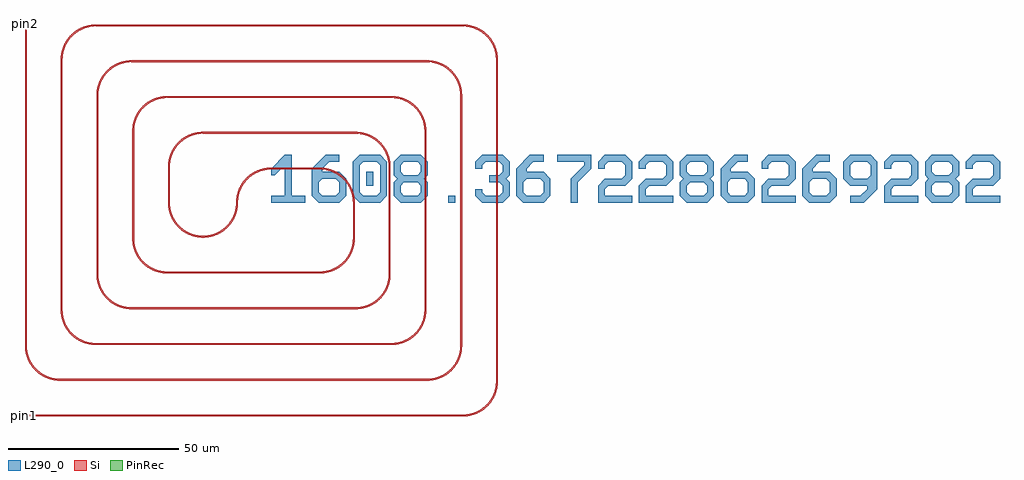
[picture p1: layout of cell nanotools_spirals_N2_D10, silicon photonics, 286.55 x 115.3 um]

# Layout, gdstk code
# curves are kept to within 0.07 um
import gdstk
lib = gdstk.Library(unit=1e-6, precision=1e-09)
def R(c, l, rs):  # rectangles x0, y0, x1, y1
    for r in rs: c.add(gdstk.rectangle(r[:2], r[2:], *l))
def P(c, l, *ps):  # polygons
    for p in ps: c.add(gdstk.Polygon(p, *l))
Si = (1, 0)
PinRec = (1, 10)
L290_0 = (290, 0)

nanotools_spirals_n2_d10 = lib.new_cell('nanotools_spirals_N2_D10')
R(nanotools_spirals_n2_d10, Si, [(-72.5,-62.75,56.3,-62.25), (66.05,-52.5,66.55,42), (-62,-52.25,45.8,-51.75), (-72.25,-42,-71.75,52.5), (55.55,-42,56.05,31.5), (-51.5,-41.75,35.3,-41.25), (-61.75,-31.5,-61.25,42), (45.05,-31.5,45.55,21), (-41,-31.25,24.8,-30.75), (-51.25,-21,-50.75,31.5), (34.55,-21,35.05,10.5), (-30.5,-20.75,14.3,-20.25), (-40.75,-10.5,-40.25,21), (24.05,-10.5,24.55,0), (-30.25,0,-29.75,10.5), (0,9.75,14.3,10.25), (-20,20.25,24.8,20.75), (-30.5,30.75,35.3,31.25), (-41,41.25,45.8,41.75), (-51.5,51.75,56.3,52.25)])
P(nanotools_spirals_n2_d10, Si, [(-10.25,0),(-10.056,1.984),(-9.482,3.894),(-8.548,5.656),(-7.292,7.204),(-6.557,7.879),(-5.759,8.479),(-4.009,9.434),(-3.072,9.779),(-2.107,10.031),(-1.121,10.189),(0,10.25),(0,9.75),(-1.066,9.692),(-2.12,9.517),(-3.148,9.228),(-4.246,8.777),(-5.673,7.93),(-6.852,6.936),(-7.93,5.673),(-8.777,4.246),(-9.228,3.148),(-9.517,2.12),(-9.692,1.066),(-9.75,0)],
  [(-20,-10.25),(-20,-9.75),(-18.934,-9.692),(-17.88,-9.517),(-16.852,-9.228),(-15.754,-8.777),(-14.327,-7.93),(-13.148,-6.936),(-12.07,-5.673),(-11.223,-4.246),(-10.772,-3.148),(-10.483,-2.12),(-10.308,-1.066),(-10.25,0),(-9.75,0),(-9.944,-1.984),(-10.518,-3.894),(-11.452,-5.656),(-12.708,-7.204),(-13.443,-7.879),(-14.241,-8.479),(-15.991,-9.434),(-16.928,-9.779),(-17.893,-10.031),(-18.879,-10.189)],
  [(14.3,-20.75),(14.3,-20.25),(15.366,-20.192),(16.42,-20.017),(17.448,-19.728),(18.546,-19.277),(19.973,-18.43),(21.152,-17.436),(22.23,-16.173),(23.077,-14.746),(23.528,-13.648),(23.817,-12.62),(23.992,-11.566),(24.05,-10.5),(24.55,-10.5),(24.356,-12.484),(23.782,-14.394),(22.848,-16.156),(21.592,-17.704),(20.857,-18.379),(20.059,-18.979),(18.309,-19.934),(17.372,-20.279),(16.407,-20.531),(15.421,-20.689)],
  [(24.8,-31.25),(24.8,-30.75),(25.866,-30.692),(26.92,-30.517),(27.948,-30.228),(29.046,-29.777),(30.473,-28.93),(31.652,-27.936),(32.73,-26.673),(33.577,-25.246),(34.028,-24.148),(34.317,-23.12),(34.492,-22.066),(34.55,-21),(35.05,-21),(34.856,-22.984),(34.282,-24.894),(33.348,-26.656),(32.092,-28.204),(31.357,-28.879),(30.559,-29.479),(28.809,-30.434),(27.872,-30.779),(26.907,-31.031),(25.921,-31.189)],
  [(35.3,-41.75),(35.3,-41.25),(36.366,-41.192),(37.42,-41.017),(38.448,-40.728),(39.546,-40.277),(40.973,-39.43),(42.152,-38.436),(43.23,-37.173),(44.077,-35.746),(44.528,-34.648),(44.817,-33.62),(44.992,-32.566),(45.05,-31.5),(45.55,-31.5),(45.356,-33.484),(44.782,-35.394),(43.848,-37.156),(42.592,-38.704),(41.857,-39.379),(41.059,-39.979),(39.309,-40.934),(38.372,-41.279),(37.407,-41.531),(36.421,-41.689)],
  [(45.8,-52.25),(45.8,-51.75),(46.866,-51.692),(47.92,-51.517),(48.948,-51.228),(50.046,-50.777),(51.473,-49.93),(52.652,-48.936),(53.73,-47.673),(54.577,-46.246),(55.028,-45.148),(55.317,-44.12),(55.492,-43.066),(55.55,-42),(56.05,-42),(55.856,-43.984),(55.282,-45.894),(54.348,-47.656),(53.092,-49.204),(52.357,-49.879),(51.559,-50.479),(49.809,-51.434),(48.872,-51.779),(47.907,-52.031),(46.921,-52.189)],
  [(56.3,-62.75),(56.3,-62.25),(57.366,-62.192),(58.42,-62.017),(59.448,-61.728),(60.546,-61.277),(61.973,-60.43),(63.152,-59.436),(64.23,-58.173),(65.077,-56.746),(65.528,-55.648),(65.817,-54.62),(65.992,-53.566),(66.05,-52.5),(66.55,-52.5),(66.356,-54.484),(65.782,-56.394),(64.848,-58.156),(63.592,-59.704),(62.857,-60.379),(62.059,-60.979),(60.309,-61.934),(59.372,-62.279),(58.407,-62.531),(57.421,-62.689)],
  [(24.05,0),(23.866,1.888),(23.364,3.594),(22.56,5.18),(21.401,6.681),(20.165,7.789),(18.652,8.725),(17.56,9.189),(16.536,9.49),(15.366,9.692),(14.3,9.75),(14.3,10.25),(15.421,10.189),(16.407,10.031),(17.372,9.779),(18.309,9.434),(19.317,8.939),(20.162,8.408),(21.047,7.717),(21.765,7.024),(22.489,6.165),(23.114,5.233),(23.633,4.237),(24.041,3.191),(24.422,1.616),(24.55,0)],
  [(34.55,10.5),(34.366,12.388),(33.864,14.094),(33.06,15.68),(31.901,17.181),(30.665,18.289),(29.152,19.225),(28.06,19.689),(27.036,19.99),(25.866,20.192),(24.8,20.25),(24.8,20.75),(25.921,20.689),(26.907,20.531),(27.872,20.279),(28.809,19.934),(29.817,19.439),(30.662,18.908),(31.547,18.217),(32.265,17.524),(32.989,16.665),(33.614,15.733),(34.133,14.737),(34.541,13.691),(34.922,12.116),(35.05,10.5)],
  [(45.05,21),(44.866,22.888),(44.364,24.594),(43.56,26.18),(42.401,27.681),(41.165,28.789),(39.652,29.725),(38.56,30.189),(37.536,30.49),(36.366,30.692),(35.3,30.75),(35.3,31.25),(36.421,31.189),(37.407,31.031),(38.372,30.779),(39.309,30.434),(40.317,29.939),(41.162,29.408),(42.047,28.717),(42.765,28.024),(43.489,27.165),(44.114,26.233),(44.633,25.237),(45.041,24.191),(45.422,22.616),(45.55,21)],
  [(55.55,31.5),(55.366,33.388),(54.864,35.094),(54.06,36.68),(52.901,38.181),(51.665,39.289),(50.152,40.225),(49.06,40.689),(48.036,40.99),(46.866,41.192),(45.8,41.25),(45.8,41.75),(46.921,41.689),(47.907,41.531),(48.872,41.279),(49.809,40.934),(50.817,40.439),(51.662,39.908),(52.547,39.217),(53.265,38.524),(53.989,37.665),(54.614,36.733),(55.133,35.737),(55.541,34.691),(55.922,33.116),(56.05,31.5)],
  [(66.05,42),(65.866,43.888),(65.364,45.594),(64.56,47.18),(63.401,48.681),(62.165,49.789),(60.652,50.725),(59.56,51.189),(58.536,51.49),(57.366,51.692),(56.3,51.75),(56.3,52.25),(57.421,52.189),(58.407,52.031),(59.372,51.779),(60.309,51.434),(61.317,50.939),(62.162,50.408),(63.047,49.717),(63.765,49.024),(64.489,48.165),(65.114,47.233),(65.633,46.237),(66.041,45.191),(66.422,43.616),(66.55,42)],
  [(-30.25,10.5),(-30.056,12.484),(-29.482,14.394),(-28.548,16.156),(-27.292,17.704),(-26.557,18.379),(-25.759,18.979),(-24.009,19.934),(-23.072,20.279),(-22.107,20.531),(-21.121,20.689),(-20,20.75),(-20,20.25),(-21.066,20.192),(-22.12,20.017),(-23.148,19.728),(-24.246,19.277),(-25.673,18.43),(-26.852,17.436),(-27.93,16.173),(-28.777,14.746),(-29.228,13.648),(-29.517,12.62),(-29.692,11.566),(-29.75,10.5)],
  [(-40.75,21),(-40.556,22.984),(-39.982,24.894),(-39.048,26.656),(-37.792,28.204),(-37.057,28.879),(-36.259,29.479),(-34.509,30.434),(-33.572,30.779),(-32.607,31.031),(-31.621,31.189),(-30.5,31.25),(-30.5,30.75),(-31.566,30.692),(-32.62,30.517),(-33.648,30.228),(-34.746,29.777),(-36.173,28.93),(-37.352,27.936),(-38.43,26.673),(-39.277,25.246),(-39.728,24.148),(-40.017,23.12),(-40.192,22.066),(-40.25,21)],
  [(-51.25,31.5),(-51.056,33.484),(-50.482,35.394),(-49.548,37.156),(-48.292,38.704),(-47.557,39.379),(-46.759,39.979),(-45.009,40.934),(-44.072,41.279),(-43.107,41.531),(-42.121,41.689),(-41,41.75),(-41,41.25),(-42.066,41.192),(-43.12,41.017),(-44.148,40.728),(-45.246,40.277),(-46.673,39.43),(-47.852,38.436),(-48.93,37.173),(-49.777,35.746),(-50.228,34.648),(-50.517,33.62),(-50.692,32.566),(-50.75,31.5)],
  [(-61.75,42),(-61.556,43.984),(-60.982,45.894),(-60.048,47.656),(-58.792,49.204),(-58.057,49.879),(-57.259,50.479),(-55.509,51.434),(-54.572,51.779),(-53.607,52.031),(-52.621,52.189),(-51.5,52.25),(-51.5,51.75),(-52.566,51.692),(-53.62,51.517),(-54.648,51.228),(-55.746,50.777),(-57.173,49.93),(-58.352,48.936),(-59.43,47.673),(-60.277,46.246),(-60.728,45.148),(-61.017,44.12),(-61.192,43.066),(-61.25,42)],
  [(-20,-10.25),(-21.984,-10.056),(-23.894,-9.482),(-25.656,-8.548),(-27.204,-7.292),(-27.879,-6.557),(-28.479,-5.759),(-29.434,-4.009),(-29.779,-3.072),(-30.031,-2.107),(-30.189,-1.121),(-30.25,0),(-29.75,0),(-29.692,-1.066),(-29.517,-2.12),(-29.228,-3.148),(-28.777,-4.246),(-27.93,-5.673),(-26.936,-6.852),(-25.673,-7.93),(-24.246,-8.777),(-23.148,-9.228),(-22.12,-9.517),(-21.066,-9.692),(-20,-9.75)],
  [(-30.5,-20.75),(-32.484,-20.556),(-34.394,-19.982),(-36.156,-19.048),(-37.704,-17.792),(-38.379,-17.057),(-38.979,-16.259),(-39.934,-14.509),(-40.279,-13.572),(-40.531,-12.607),(-40.689,-11.621),(-40.75,-10.5),(-40.25,-10.5),(-40.192,-11.566),(-40.017,-12.62),(-39.728,-13.648),(-39.277,-14.746),(-38.43,-16.173),(-37.436,-17.352),(-36.173,-18.43),(-34.746,-19.277),(-33.648,-19.728),(-32.62,-20.017),(-31.566,-20.192),(-30.5,-20.25)],
  [(-41,-31.25),(-42.984,-31.056),(-44.894,-30.482),(-46.656,-29.548),(-48.204,-28.292),(-48.879,-27.557),(-49.479,-26.759),(-50.434,-25.009),(-50.779,-24.072),(-51.031,-23.107),(-51.189,-22.121),(-51.25,-21),(-50.75,-21),(-50.692,-22.066),(-50.517,-23.12),(-50.228,-24.148),(-49.777,-25.246),(-48.93,-26.673),(-47.936,-27.852),(-46.673,-28.93),(-45.246,-29.777),(-44.148,-30.228),(-43.12,-30.517),(-42.066,-30.692),(-41,-30.75)],
  [(-51.5,-41.75),(-53.484,-41.556),(-55.394,-40.982),(-57.156,-40.048),(-58.704,-38.792),(-59.379,-38.057),(-59.979,-37.259),(-60.934,-35.509),(-61.279,-34.572),(-61.531,-33.607),(-61.689,-32.621),(-61.75,-31.5),(-61.25,-31.5),(-61.192,-32.566),(-61.017,-33.62),(-60.728,-34.648),(-60.277,-35.746),(-59.43,-37.173),(-58.436,-38.352),(-57.173,-39.43),(-55.746,-40.277),(-54.648,-40.728),(-53.62,-41.017),(-52.566,-41.192),(-51.5,-41.25)],
  [(-62,-52.25),(-63.984,-52.056),(-65.894,-51.482),(-67.656,-50.548),(-69.204,-49.292),(-69.879,-48.557),(-70.479,-47.759),(-71.434,-46.009),(-71.779,-45.072),(-72.031,-44.107),(-72.189,-43.121),(-72.25,-42),(-71.75,-42),(-71.692,-43.066),(-71.517,-44.12),(-71.228,-45.148),(-70.777,-46.246),(-69.93,-47.673),(-68.936,-48.852),(-67.673,-49.93),(-66.246,-50.777),(-65.148,-51.228),(-64.12,-51.517),(-63.066,-51.692),(-62,-51.75)])
R(nanotools_spirals_n2_d10, L290_0, [(52,0,54,2), (28,5,30,9)])
P(nanotools_spirals_n2_d10, L290_0, [(0,0),(0,2),(4,2),(4,10),(3,10),(1,8),(0,8),(0,10),(4,14),(6,14),(6,2),(10,2),(10,0)],
  [(14,0),(12,2),(12,10),(16,14),(20,14),(20,12),(17,12),(15,10),(15,9),(20,9),(22,7),(15,7),(14,6),(14,3),(15,2),(19,2),(20,3),(20,6),(19,7),(22,7),(22,2),(20,0)],
  [(26,0),(24,2),(24,12),(26,14),(32,14),(34,12),(27,12),(26,11),(26,3),(27,2),(31,2),(32,3),(32,11),(31,12),(34,12),(34,2),(32,0)],
  [(38,0),(36,2),(36,6),(37,7),(36,8),(36,12),(38,14),(44,14),(46,12),(39,12),(38,11),(38,9),(39,8),(43,8),(44,9),(44,11),(43,12),(46,12),(46,8),(45,7),(46,6),(39,6),(38,5),(38,3),(39,2),(43,2),(44,3),(44,5),(43,6),(46,6),(46,2),(44,0)],
  [(62,0),(60,2),(60,4),(62,4),(62,3),(63,2),(67,2),(68,3),(68,5),(67,6),(64,6),(64,8),(67,8),(68,9),(68,11),(67,12),(63,12),(62,11),(62,10),(60,10),(60,12),(62,14),(68,14),(70,12),(70,8),(69,7),(70,6),(70,2),(68,0)],
  [(74,0),(72,2),(72,10),(76,14),(80,14),(80,12),(77,12),(75,10),(75,9),(80,9),(82,7),(75,7),(74,6),(74,3),(75,2),(79,2),(80,3),(80,6),(79,7),(82,7),(82,2),(80,0)],
  [(88,0),(88,7),(92,11),(92,12),(84,12),(84,14),(94,14),(94,10),(90,6),(90,0)],
  [(96,0),(96,5),(98,7),(103,7),(104,8),(104,11),(103,12),(99,12),(98,11),(98,10),(96,10),(96,12),(98,14),(104,14),(106,12),(106,7),(104,5),(99,5),(98,4),(98,2),(106,2),(106,0)],
  [(108,0),(108,5),(110,7),(115,7),(116,8),(116,11),(115,12),(111,12),(110,11),(110,10),(108,10),(108,12),(110,14),(116,14),(118,12),(118,7),(116,5),(111,5),(110,4),(110,2),(118,2),(118,0)],
  [(122,0),(120,2),(120,6),(121,7),(120,8),(120,12),(122,14),(128,14),(130,12),(123,12),(122,11),(122,9),(123,8),(127,8),(128,9),(128,11),(127,12),(130,12),(130,8),(129,7),(130,6),(123,6),(122,5),(122,3),(123,2),(127,2),(128,3),(128,5),(127,6),(130,6),(130,2),(128,0)],
  [(134,0),(132,2),(132,10),(136,14),(140,14),(140,12),(137,12),(135,10),(135,9),(140,9),(142,7),(135,7),(134,6),(134,3),(135,2),(139,2),(140,3),(140,6),(139,7),(142,7),(142,2),(140,0)],
  [(144,0),(144,5),(146,7),(151,7),(152,8),(152,11),(151,12),(147,12),(146,11),(146,10),(144,10),(144,12),(146,14),(152,14),(154,12),(154,7),(152,5),(147,5),(146,4),(146,2),(154,2),(154,0)],
  [(158,0),(156,2),(156,10),(160,14),(164,14),(164,12),(161,12),(159,10),(159,9),(164,9),(166,7),(159,7),(158,6),(158,3),(159,2),(163,2),(164,3),(164,6),(163,7),(166,7),(166,2),(164,0)],
  [(170,0),(170,2),(173,2),(175,4),(175,5),(170,5),(168,7),(175,7),(176,8),(176,11),(175,12),(171,12),(170,11),(170,8),(171,7),(168,7),(168,12),(170,14),(176,14),(178,12),(178,4),(174,0)],
  [(180,0),(180,5),(182,7),(187,7),(188,8),(188,11),(187,12),(183,12),(182,11),(182,10),(180,10),(180,12),(182,14),(188,14),(190,12),(190,7),(188,5),(183,5),(182,4),(182,2),(190,2),(190,0)],
  [(194,0),(192,2),(192,6),(193,7),(192,8),(192,12),(194,14),(200,14),(202,12),(195,12),(194,11),(194,9),(195,8),(199,8),(200,9),(200,11),(199,12),(202,12),(202,8),(201,7),(202,6),(195,6),(194,5),(194,3),(195,2),(199,2),(200,3),(200,5),(199,6),(202,6),(202,2),(200,0)],
  [(204,0),(204,5),(206,7),(211,7),(212,8),(212,11),(211,12),(207,12),(206,11),(206,10),(204,10),(204,12),(206,14),(212,14),(214,12),(214,7),(212,5),(207,5),(206,4),(206,2),(214,2),(214,0)])
nanotools_spirals_n2_d10.add(gdstk.FlexPath([(-72.45,-62.5),(-72.55,-62.5)], 0.5, ends="flush", simple_path=True, layer=1, datatype=10))  # PinRec
nanotools_spirals_n2_d10.add(gdstk.FlexPath([(-72,52.45),(-72,52.55)], 0.5, ends="flush", simple_path=True, layer=1, datatype=10))  # PinRec
nanotools_spirals_n2_d10.add(gdstk.Label('pin1', (-72.5,-62.5), layer=1, texttype=10))
nanotools_spirals_n2_d10.add(gdstk.Label('pin2', (-72,52.5), layer=1, texttype=10))

lib.write_gds('nanotools_spirals_N2_D10.gds')
